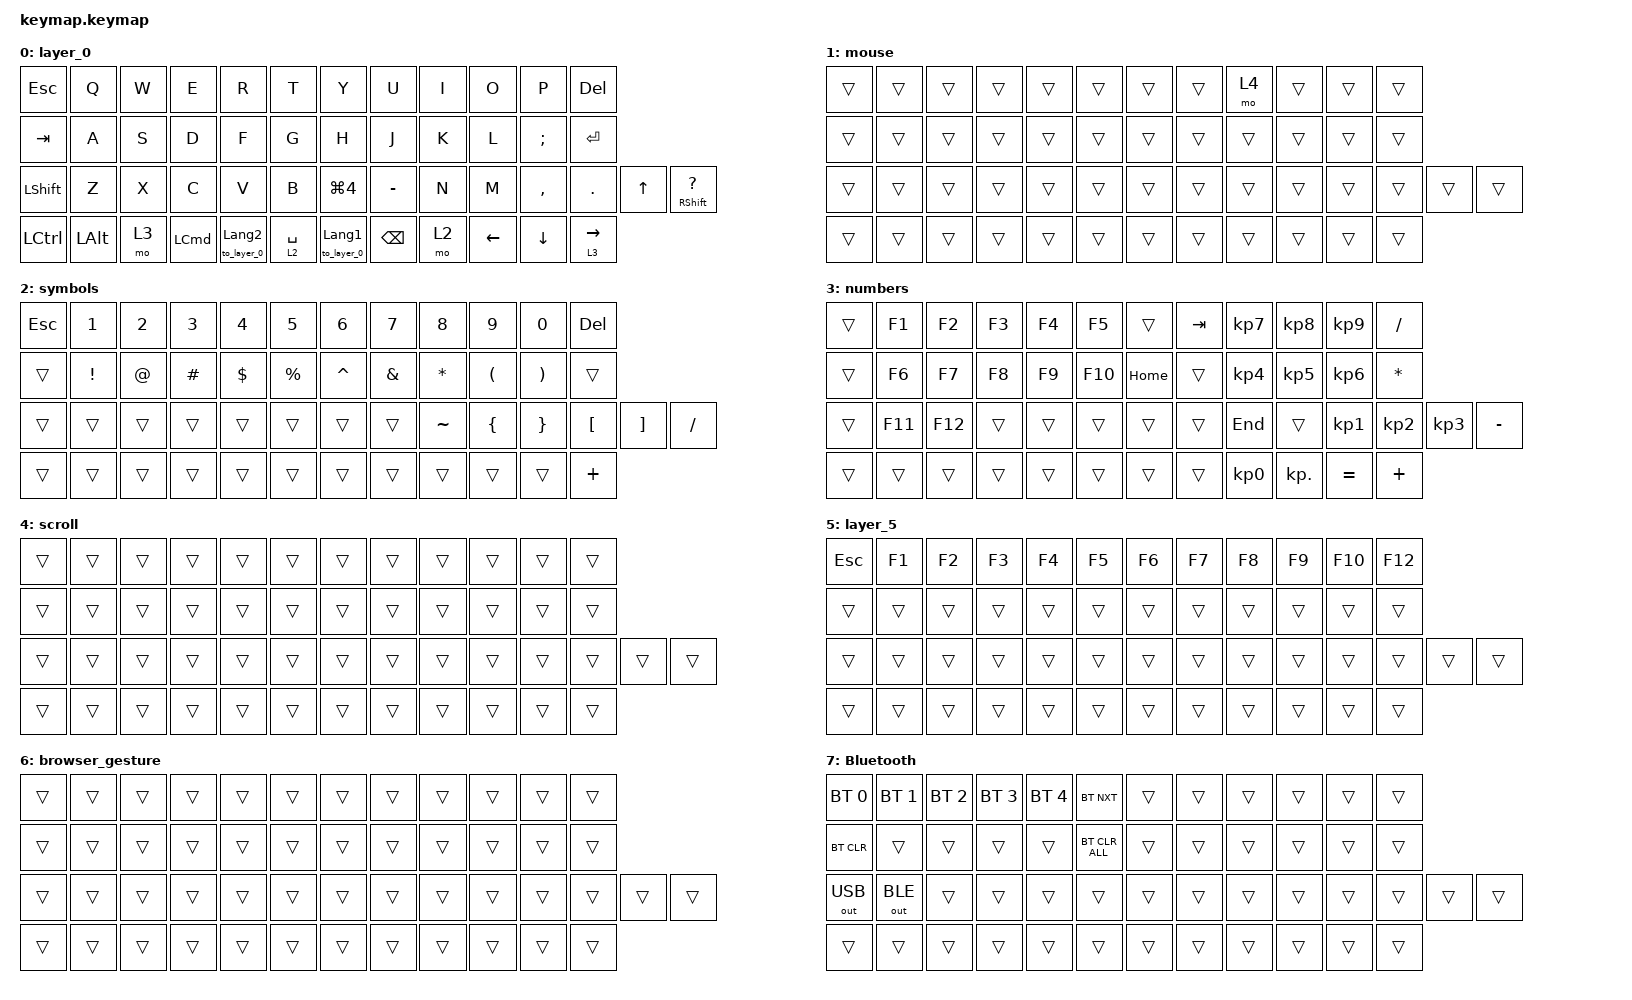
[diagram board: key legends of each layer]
#include <mouse-gesture.dtsi>
#include <behaviors.dtsi>
#include <dt-bindings/zmk/bt.h>
#include <dt-bindings/zmk/keys.h>
#include <dt-bindings/zmk/outputs.h>
#include <dt-bindings/zmk/pointing.h>

&zip_mouse_gesture {
    stroke-size = <150>;
    idle-timeout-ms = <300>;
    enable-eager-mode;
    suppress-movement;

    desktop_right {
        pattern = <GESTURE_LEFT>;
        bindings = <&kp LC(RIGHT)>;
    };

    desktop_left {
        pattern = <GESTURE_RIGHT>;
        bindings = <&kp LC(LEFT)>;
    };

    mission_control {
        pattern = <GESTURE_UP>;
        bindings = <&kp LC(UP)>;
    };
};

/ {
    // Only routed by the Layer 6 listener override. Independent of the
    // global mouse_gesture activation used by the existing JKL; combo.
    zip_browser_gesture: zip_browser_gesture {
        compatible = "zmk,input-processor-mouse-gesture";
        #input-processor-cells = <0>;
        always-active;
        stroke-size = <150>;
        enable-eager-mode;
        // Single-stroke patterns execute immediately, never on a later idle timer.
        idle-timeout-ms = <0>;
        suppress-movement;

        browser_mb4 {
            pattern = <GESTURE_RIGHT>;
            bindings = <&kp LG(LEFT_BRACKET)>; // Safari: Back (Command + [)
        };

        browser_mb5 {
            pattern = <GESTURE_LEFT>;
            bindings = <&kp LG(RIGHT_BRACKET)>; // Safari: Forward (Command + ])
        };
    };

    combos {
        compatible = "zmk,combos";

        Layer_7 {
            bindings = <&mo 7>;
            key-positions = <45 46>;
        };

        browser_gesture_combo {
            bindings = <&mo 6>;
            key-positions = <7 8 9>;
            layers = <0 1>;
            timeout-ms = <50>;
            // Default release: any one of U/I/O released disables Layer 6.
        };

        gesture_combo {
            bindings = <&gesture_hold>;
            key-positions = <19 20 21 22>;
            layers = <0 1>;
        };

        lclk {
            bindings = <&mkp LCLK>;
            key-positions = <19 20>;
        };

        rclk {
            bindings = <&mkp RCLK>;
            key-positions = <20 21>;
        };

        mclk {
            bindings = <&mkp MCLK>;
            key-positions = <19 20 21>;
        };
    };

    macros {
        to_layer_0: to_layer_0 {
            compatible = "zmk,behavior-macro-one-param";
            #binding-cells = <1>;
            bindings = <&to 0 &macro_param_1to1 &kp MACRO_PLACEHOLDER>;
            label = "TO_LAYER_0";
        };

        gesture_hold: gesture_hold {
            compatible = "zmk,behavior-macro";
            #binding-cells = <0>;
            wait-ms = <0>;
            tap-ms = <0>;
            bindings =
                <&macro_press>,
                <&mouse_gesture>,
                <&macro_pause_for_release>,
                <&macro_release>,
                <&mouse_gesture>;
        };
    };

    keymap {
        compatible = "zmk,keymap";

        layer_0 {
            bindings = <
&kp ESC    &kp Q         &kp W  &kp E             &kp R                   &kp T        &kp Y                   &kp U          &kp I  &kp O           &kp P           &kp DEL
&kp TAB    &kp A         &kp S  &kp D             &kp F                   &kp G        &kp H                   &kp J          &kp K  &kp L           &kp SEMI        &kp ENTER
&kp LSHFT  &kp Z         &kp X  &kp C             &kp V                   &kp B        &kp LG(NUMBER_4)        &kp MINUS      &kp N  &kp M           &kp COMMA       &kp DOT      &kp UP_ARROW  &mt RSHFT QUESTION
&kp LCTRL  &kp LEFT_ALT  &mo 3  &kp LEFT_COMMAND  &to_layer_0 LANGUAGE_2  &lt 2 SPACE  &to_layer_0 LANGUAGE_1  &kp BACKSPACE  &mo 2  &kp LEFT_ARROW  &kp DOWN_ARROW  &lt 3 RIGHT
            >;
        };

        mouse {
            bindings = <
&trans  &trans  &trans  &trans  &trans  &trans  &trans  &trans  &mo 4   &trans  &trans  &trans
&trans  &trans  &trans  &trans  &trans  &trans  &trans  &trans  &trans  &trans  &trans  &trans
&trans  &trans  &trans  &trans  &trans  &trans  &trans  &trans  &trans  &trans  &trans  &trans  &trans  &trans
&trans  &trans  &trans  &trans  &trans  &trans  &trans  &trans  &trans  &trans  &trans  &trans
            >;
        };

        symbols {
            bindings = <
&kp ESCAPE  &kp N1    &kp N2  &kp N3    &kp N4      &kp N5     &kp N6     &kp N7         &kp N8     &kp N9                &kp N0                 &kp DELETE
&trans      &kp EXCL  &kp AT  &kp HASH  &kp DOLLAR  &kp PRCNT  &kp CARET  &kp AMPERSAND  &kp ASTRK  &kp LEFT_PARENTHESIS  &kp RIGHT_PARENTHESIS  &trans
&trans      &trans    &trans  &trans    &trans      &trans     &trans     &trans         &kp TILDE  &kp LEFT_BRACE        &kp RIGHT_BRACE        &kp LEFT_BRACKET  &kp RIGHT_BRACKET  &kp SLASH
&trans      &trans    &trans  &trans    &trans      &trans     &trans     &trans         &trans     &trans                &trans                 &kp PLUS
            >;
        };

        numbers {
            bindings = <
&trans  &kp F1   &kp F2   &kp F3  &kp F4  &kp F5   &trans    &kp TAB  &kp KP_NUMBER_7  &kp KP_NUMBER_8  &kp KP_NUMBER_9  &kp SLASH
&trans  &kp F6   &kp F7   &kp F8  &kp F9  &kp F10  &kp HOME  &trans   &kp KP_NUMBER_4  &kp KP_NUMBER_5  &kp KP_NUMBER_6  &kp ASTRK
&trans  &kp F11  &kp F12  &trans  &trans  &trans   &trans    &trans   &kp END          &trans           &kp KP_NUMBER_1  &kp KP_NUMBER_2  &kp KP_NUMBER_3  &kp MINUS
&trans  &trans   &trans   &trans  &trans  &trans   &trans    &trans   &kp KP_NUMBER_0  &kp KP_DOT       &kp EQUAL        &kp PLUS
            >;
        };

        scroll {
            bindings = <
&trans  &trans  &trans  &trans  &trans  &trans  &trans  &trans  &trans  &trans  &trans  &trans
&trans  &trans  &trans  &trans  &trans  &trans  &trans  &trans  &trans  &trans  &trans  &trans
&trans  &trans  &trans  &trans  &trans  &trans  &trans  &trans  &trans  &trans  &trans  &trans  &trans  &trans
&trans  &trans  &trans  &trans  &trans  &trans  &trans  &trans  &trans  &trans  &trans  &trans
            >;
        };

        layer_5 {
            bindings = <
&kp ESC  &kp F1  &kp F2  &kp F3  &kp F4  &kp F5  &kp F6  &kp F7  &kp F8  &kp F9  &kp F10  &kp F12
&trans   &trans  &trans  &trans  &trans  &trans  &trans  &trans  &trans  &trans  &trans   &trans
&trans   &trans  &trans  &trans  &trans  &trans  &trans  &trans  &trans  &trans  &trans   &trans   &trans  &trans
&trans   &trans  &trans  &trans  &trans  &trans  &trans  &trans  &trans  &trans  &trans   &trans
            >;
        };

        browser_gesture {
            bindings = <
&trans  &trans  &trans  &trans  &trans  &trans  &trans  &trans  &trans  &trans  &trans  &trans
&trans  &trans  &trans  &trans  &trans  &trans  &trans  &trans  &trans  &trans  &trans  &trans
&trans  &trans  &trans  &trans  &trans  &trans  &trans  &trans  &trans  &trans  &trans  &trans  &trans  &trans
&trans  &trans  &trans  &trans  &trans  &trans  &trans  &trans  &trans  &trans  &trans  &trans
            >;
        };

        Bluetooth {
            bindings = <
&bt BT_SEL 0  &bt BT_SEL 1  &bt BT_SEL 2  &bt BT_SEL 3  &bt BT_SEL 4  &bt BT_NXT      &trans  &trans  &trans  &trans  &trans  &trans
&bt BT_CLR    &trans        &trans        &trans        &trans        &bt BT_CLR_ALL  &trans  &trans  &trans  &trans  &trans  &trans
&out OUT_USB  &out OUT_BLE  &trans        &trans        &trans        &trans          &trans  &trans  &trans  &trans  &trans  &trans  &trans  &trans
&trans        &trans        &trans        &trans        &trans        &trans          &trans  &trans  &trans  &trans  &trans  &trans
            >;
        };
    };
};
